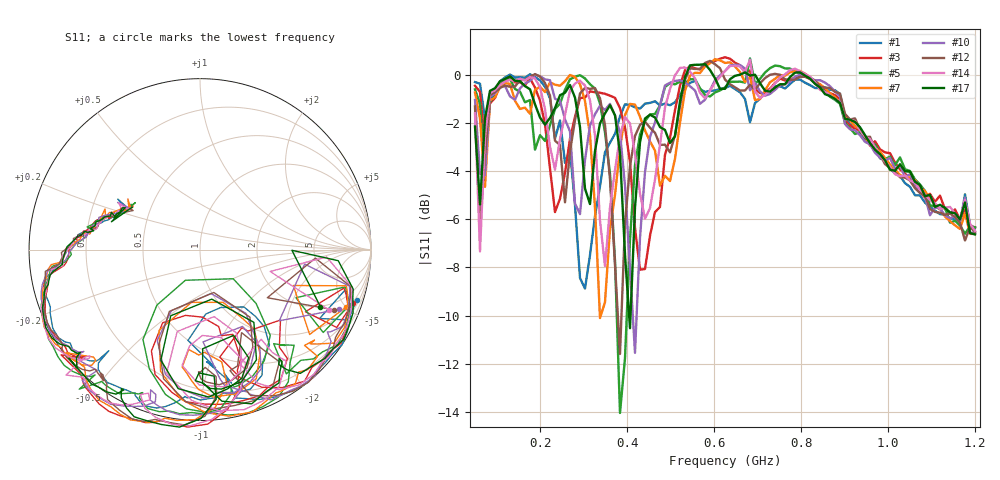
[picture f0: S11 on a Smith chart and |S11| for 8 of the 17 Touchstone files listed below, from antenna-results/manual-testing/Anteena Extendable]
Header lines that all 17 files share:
# HZ S RI R 50
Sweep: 50 MHz to 1.2 GHz
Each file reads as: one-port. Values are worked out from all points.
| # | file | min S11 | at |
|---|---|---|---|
| 1 | Anteena-Extendable-2-Extend.s1p | -8.9 dB | 303 MHz |
| 2 | Anteena-Extendable-2.5-Extend.s1p | -7.5 dB | 257 MHz |
| 3 | Anteena-Extendable-3-Extend.s1p | -8.1 dB | 429.5 MHz |
| 4 | Anteena-Extendable-3.5-Extend.s1p | -13.5 dB | 406.5 MHz |
| 5 | Anteena-Extendable-4-Extend.s1p | -14.0 dB | 383.5 MHz |
| 6 | Anteena-Extendable-4.5-Extend.s1p | -12.4 dB | 372 MHz |
| 7 | Anteena-Extendable-5-Extend.s1p | -10.1 dB | 337.5 MHz |
| 8 | Anteena-Extendable-5.5-Extend.s1p | -8.4 dB | 1.177 GHz |
| 9 | Anteena-Extendable-6-Extend.s1p | -8.6 dB | 429.5 MHz |
| 10 | Anteena-Extendable-6.5-Extend.s1p | -11.5 dB | 418 MHz |
| 11 | Anteena-Extendable-7-Extend.s1p | -12.2 dB | 395 MHz |
| 12 | Anteena-Extendable-7.5-Extend.s1p | -11.6 dB | 383.5 MHz |
| 13 | Anteena-Extendable-8-Extend.s1p | -8.8 dB | 372 MHz |
| 14 | Anteena-Extendable-8.5-Extend.s1p | -7.9 dB | 349 MHz |
| 15 | Anteena-Extendable-9-Extend.s1p | -7.7 dB | 429.5 MHz |
| 16 | Anteena-Extendable-9.5-Extend.s1p | -10.5 dB | 418 MHz |
| 17 | Anteena-Extendable-10-Extend.s1p | -10.5 dB | 406.5 MHz |
